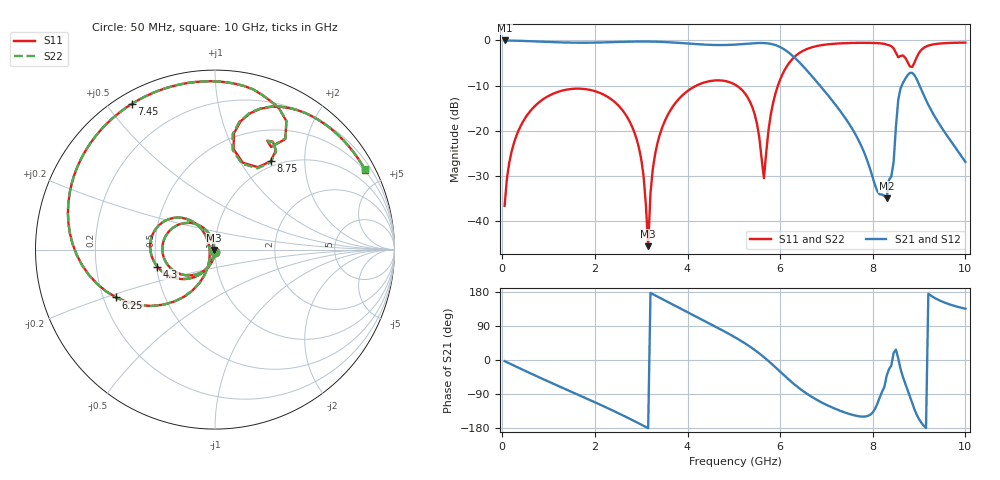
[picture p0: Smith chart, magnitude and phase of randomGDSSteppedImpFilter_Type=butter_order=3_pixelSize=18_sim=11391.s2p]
! freq	dB(S11)	phase(S11)	dB(S12)	phase(S12)
!  dB(S21)	phase(S21)	dB(S22)	phase(S22)
!S-par simulation data
#  GHz  S  DB  R 50
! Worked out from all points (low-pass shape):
!   200 points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, 50 MHz to 10 GHz, reference 50 ohm
!   highest |S21| = 0.00 dB at 50 MHz (marker M1); lowest = -34.9 dB at 8.3 GHz (marker M2)
!   |S21| within 3 dB of the highest: start of sweep to 6.224 GHz
!   lowest |S11| = -45.5 dB at 3.15 GHz (marker M3), VSWR 1.01, Z = 49.5 - j0.263 ohm
!   |S11| at or under -10 dB: start of sweep to 4.188 GHz; 5.063 GHz to 5.951 GHz (887.9 MHz wide, 16.1 % of centre)
!   |S22| runs from -43.8 to -0.5 dB; largest |S21 - S12| = 0
!   S11 on the Smith chart (normalised r, x): 50 MHz: 1.00, -0.03; 4.3 GHz: 0.51, -0.11; 6.25 GHz: 0.25, -0.22; 7.45 GHz: 0.05, +0.58; 8.75 GHz: 0.92, +1.37; 10 GHz: 0.46, +3.96
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0.05  -36.53 -92.9  -0.00 -3.0  -0.00 -3.0  -36.53 -92.9
0.5  -17.05 -119.5  -0.13 -29.0  -0.13 -29.0  -17.05 -119.4
1.75  -10.71 171.7  -0.51 -97.8  -0.51 -97.8  -10.71 171.9
2.8  -18.99 113.2  -0.26 -158.0  -0.26 -158.0  -18.98 113.9
3.05  -29.86 103.4  -0.23 -173.6  -0.23 -173.6  -29.79 105.7
3.15  -45.47 -150.2  -0.24 -179.9  -0.24 -179.9  -43.83 -156.5
3.25  -28.42 -103.6  -0.26 173.7  -0.26 173.7  -28.39 -105.6
3.4  -20.85 -109.2  -0.30 164.1  -0.30 164.1  -20.84 -110.1
4.3  -9.50 -163.5  -0.89 107.0  -0.89 107.0  -9.50 -163.7
5.05  -9.91 149.6  -0.91 58.1  -0.91 58.1  -9.91 149.5
5.45  -16.33 124.3  -0.61 26.5  -0.61 26.5  -16.34 124.1
5.65  -30.44 -167.9  -0.58 7.5  -0.58 7.5  -30.59 -167.5
5.85  -13.70 -115.1  -0.88 -13.8  -0.88 -13.8  -13.69 -114.9
6.25  -4.27 -154.1  -3.23 -58.4  -3.23 -58.4  -4.27 -154.1
6.7  -1.47 166.0  -8.05 -98.6  -8.05 -98.6  -1.47 166.1
7.45  -0.59 119.7  -17.82 -140.7  -17.82 -140.7  -0.58 119.8
8.3  -0.91 73.0  -34.92 -41.9  -34.92 -41.9  -0.90 73.2
8.35  -1.06 69.8  -30.83 -24.3  -30.83 -24.3  -1.04 70.0
8.55  -3.72 61.3  -13.14 4.2  -13.14 4.2  -3.64 61.0
8.75  -4.71 57.8  -7.70 -77.9  -7.70 -77.9  -4.78 57.4
8.95  -3.67 80.8  -8.59 -144.6  -8.59 -144.6  -3.72 81.3
10  -0.47 28.0  -26.84 135.4  -26.84 135.4  -0.47 28.2
